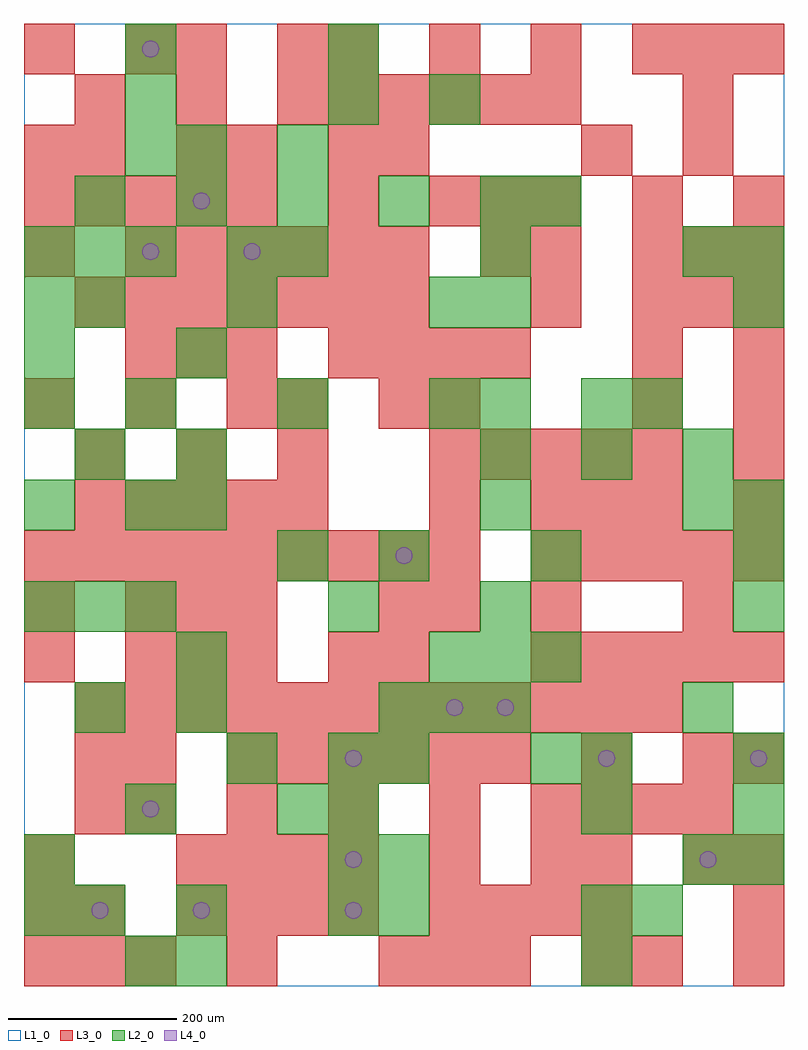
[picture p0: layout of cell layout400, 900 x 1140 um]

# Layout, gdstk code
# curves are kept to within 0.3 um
import gdstk
lib = gdstk.Library(unit=1e-6, precision=1e-09)
def R(c, l, rs):  # rectangles x0, y0, x1, y1
    for r in rs: c.add(gdstk.rectangle(r[:2], r[2:], *l))
def A(c, l, x, y, w, h, nx, ny, dx, dy):  # array of equal rectangles
    R(c, l, [(x+i*dx, y+j*dy, x+i*dx+w, y+j*dy+h) for i in range(nx) for j in range(ny)])
def P(c, l, *ps):  # polygons
    for p in ps: c.add(gdstk.Polygon(p, *l))
L1_0 = (1, 0)
L2_0 = (2, 0)
L3_0 = (3, 0)
L4_0 = (4, 0)

layout400 = lib.new_cell('layout400')
R(layout400, L1_0, [(0,0,900,1140)])
A(layout400, L2_0, 360, 60, 60, 60, 1, 4, 0, 60)
A(layout400, L2_0, 840, 120, 60, 60, 1, 3, 0, 60)
A(layout400, L2_0, 420, 300, 60, 60, 3, 1, 60, 0)
A(layout400, L2_0, 480, 360, 60, 60, 3, 1, 60, 0)
A(layout400, L2_0, 0, 420, 60, 60, 3, 2, 60, 420)
A(layout400, L2_0, 540, 420, 60, 60, 1, 4, 0, 120)
A(layout400, L2_0, 840, 420, 60, 60, 1, 3, 0, 60)
A(layout400, L2_0, 540, 600, 60, 60, 3, 1, 120, 0)
A(layout400, L2_0, 0, 660, 60, 60, 1, 3, 0, 60)
A(layout400, L2_0, 120, 660, 60, 60, 3, 1, 180, 0)
A(layout400, L2_0, 300, 840, 60, 60, 3, 1, 240, 0)
A(layout400, L2_0, 60, 900, 60, 60, 5, 1, 120, 0)
A(layout400, L2_0, 120, 960, 60, 60, 1, 3, 0, 60)
R(layout400, L2_0, [(120,0,180,60), (180,0,240,60), (660,0,720,60), (0,60,60,120), (60,60,120,120), (180,60,240,120), (420,60,480,120), (660,60,720,120), (720,60,780,120), (0,120,60,180), (420,120,480,180), (780,120,840,180), (120,180,180,240), (300,180,360,240), (660,180,720,240), (240,240,300,300), (420,240,480,300), (600,240,660,300), (660,240,720,300), (60,300,120,360), (180,300,240,360), (780,300,840,360), (180,360,240,420), (360,420,420,480), (300,480,360,540), (420,480,480,540), (600,480,660,540), (0,540,60,600), (120,540,180,600), (180,540,240,600), (780,540,840,600), (60,600,120,660), (180,600,240,660), (660,660,720,720), (720,660,780,720), (180,720,240,780), (60,780,120,840), (240,780,300,840), (480,780,540,840), (840,780,900,840), (240,840,300,900), (840,840,900,900), (600,900,660,960), (180,960,240,1020), (300,960,360,1020), (360,1020,420,1080), (480,1020,540,1080), (360,1080,420,1140)])
A(layout400, L3_0, 0, 0, 60, 60, 3, 1, 60, 0)
A(layout400, L3_0, 420, 0, 60, 60, 3, 1, 60, 0)
A(layout400, L3_0, 660, 0, 60, 60, 1, 3, 0, 120)
A(layout400, L3_0, 840, 0, 60, 60, 1, 3, 0, 60)
A(layout400, L3_0, 180, 60, 60, 60, 4, 2, 60, 60)
A(layout400, L3_0, 480, 60, 60, 60, 4, 1, 60, 0)
A(layout400, L3_0, 120, 180, 60, 60, 5, 1, 120, 0)
A(layout400, L3_0, 660, 180, 60, 60, 3, 1, 60, 0)
A(layout400, L3_0, 240, 240, 60, 60, 6, 1, 60, 0)
A(layout400, L3_0, 60, 300, 60, 60, 12, 1, 60, 0)
A(layout400, L3_0, 120, 360, 60, 60, 3, 2, 60, 60)
A(layout400, L3_0, 600, 360, 60, 60, 5, 2, 60, 120)
A(layout400, L3_0, 480, 420, 60, 60, 1, 3, 0, 120)
A(layout400, L3_0, 0, 480, 60, 60, 9, 1, 60, 0)
A(layout400, L3_0, 60, 540, 60, 60, 5, 1, 60, 0)
A(layout400, L3_0, 600, 540, 60, 60, 3, 1, 60, 0)
A(layout400, L3_0, 840, 540, 60, 60, 1, 4, 0, 60)
A(layout400, L3_0, 60, 600, 60, 60, 3, 2, 120, 420)
A(layout400, L3_0, 480, 600, 60, 60, 5, 1, 60, 0)
A(layout400, L3_0, 0, 660, 60, 60, 3, 1, 120, 0)
A(layout400, L3_0, 120, 720, 60, 60, 3, 1, 60, 0)
A(layout400, L3_0, 360, 720, 60, 60, 4, 1, 60, 0)
A(layout400, L3_0, 60, 780, 60, 60, 7, 1, 60, 0)
A(layout400, L3_0, 720, 780, 60, 60, 3, 2, 60, 60)
A(layout400, L3_0, 0, 840, 60, 60, 1, 3, 0, 120)
A(layout400, L3_0, 120, 840, 60, 60, 6, 1, 60, 0)
A(layout400, L3_0, 0, 900, 60, 60, 5, 1, 60, 0)
A(layout400, L3_0, 480, 900, 60, 60, 3, 1, 60, 0)
A(layout400, L3_0, 780, 960, 60, 60, 1, 3, 0, 60)
A(layout400, L3_0, 360, 1020, 60, 60, 5, 1, 60, 0)
A(layout400, L3_0, 360, 1080, 60, 60, 4, 1, 120, 0)
R(layout400, L3_0, [(240,0,300,60), (720,0,780,60), (0,60,60,120), (60,60,120,120), (0,120,60,180), (480,120,540,180), (600,120,660,180), (780,120,840,180), (60,180,120,240), (60,240,120,300), (120,240,180,300), (780,240,840,300), (840,240,900,300), (0,360,60,420), (360,360,420,420), (420,360,480,420), (0,420,60,480), (420,420,480,480), (600,420,660,480), (780,420,840,480), (300,660,360,720), (420,660,480,720), (720,660,780,720), (720,720,780,780), (600,780,660,840), (540,840,600,900), (600,840,660,900), (360,900,420,960), (720,900,780,960), (840,900,900,960), (60,960,120,1020), (180,960,240,1020), (240,960,300,1020), (360,960,420,1020), (420,960,480,1020), (660,960,720,1020), (120,1080,180,1140), (180,1080,240,1140), (300,1080,360,1140), (840,1080,900,1140)])
P(layout400, L4_0, [(100,90),(99.239,93.827),(97.071,97.071),(93.827,99.239),(90,100),(86.173,99.239),(82.929,97.071),(80.761,93.827),(80,90),(80.761,86.173),(82.929,82.929),(86.173,80.761),(90,80),(93.827,80.761),(97.071,82.929),(99.239,86.173)],
  [(160,210),(159.239,213.827),(157.071,217.071),(153.827,219.239),(150,220),(146.173,219.239),(142.929,217.071),(140.761,213.827),(140,210),(140.761,206.173),(142.929,202.929),(146.173,200.761),(150,200),(153.827,200.761),(157.071,202.929),(159.239,206.173)],
  [(160,870),(159.239,873.827),(157.071,877.071),(153.827,879.239),(150,880),(146.173,879.239),(142.929,877.071),(140.761,873.827),(140,870),(140.761,866.173),(142.929,862.929),(146.173,860.761),(150,860),(153.827,860.761),(157.071,862.929),(159.239,866.173)],
  [(160,1110),(159.239,1113.827),(157.071,1117.071),(153.827,1119.239),(150,1120),(146.173,1119.239),(142.929,1117.071),(140.761,1113.827),(140,1110),(140.761,1106.173),(142.929,1102.929),(146.173,1100.761),(150,1100),(153.827,1100.761),(157.071,1102.929),(159.239,1106.173)],
  [(220,90),(219.239,93.827),(217.071,97.071),(213.827,99.239),(210,100),(206.173,99.239),(202.929,97.071),(200.761,93.827),(200,90),(200.761,86.173),(202.929,82.929),(206.173,80.761),(210,80),(213.827,80.761),(217.071,82.929),(219.239,86.173)],
  [(220,930),(219.239,933.827),(217.071,937.071),(213.827,939.239),(210,940),(206.173,939.239),(202.929,937.071),(200.761,933.827),(200,930),(200.761,926.173),(202.929,922.929),(206.173,920.761),(210,920),(213.827,920.761),(217.071,922.929),(219.239,926.173)],
  [(280,870),(279.239,873.827),(277.071,877.071),(273.827,879.239),(270,880),(266.173,879.239),(262.929,877.071),(260.761,873.827),(260,870),(260.761,866.173),(262.929,862.929),(266.173,860.761),(270,860),(273.827,860.761),(277.071,862.929),(279.239,866.173)],
  [(400,90),(399.239,93.827),(397.071,97.071),(393.827,99.239),(390,100),(386.173,99.239),(382.929,97.071),(380.761,93.827),(380,90),(380.761,86.173),(382.929,82.929),(386.173,80.761),(390,80),(393.827,80.761),(397.071,82.929),(399.239,86.173)],
  [(400,150),(399.239,153.827),(397.071,157.071),(393.827,159.239),(390,160),(386.173,159.239),(382.929,157.071),(380.761,153.827),(380,150),(380.761,146.173),(382.929,142.929),(386.173,140.761),(390,140),(393.827,140.761),(397.071,142.929),(399.239,146.173)],
  [(400,270),(399.239,273.827),(397.071,277.071),(393.827,279.239),(390,280),(386.173,279.239),(382.929,277.071),(380.761,273.827),(380,270),(380.761,266.173),(382.929,262.929),(386.173,260.761),(390,260),(393.827,260.761),(397.071,262.929),(399.239,266.173)],
  [(460,510),(459.239,513.827),(457.071,517.071),(453.827,519.239),(450,520),(446.173,519.239),(442.929,517.071),(440.761,513.827),(440,510),(440.761,506.173),(442.929,502.929),(446.173,500.761),(450,500),(453.827,500.761),(457.071,502.929),(459.239,506.173)],
  [(520,330),(519.239,333.827),(517.071,337.071),(513.827,339.239),(510,340),(506.173,339.239),(502.929,337.071),(500.761,333.827),(500,330),(500.761,326.173),(502.929,322.929),(506.173,320.761),(510,320),(513.827,320.761),(517.071,322.929),(519.239,326.173)],
  [(580,330),(579.239,333.827),(577.071,337.071),(573.827,339.239),(570,340),(566.173,339.239),(562.929,337.071),(560.761,333.827),(560,330),(560.761,326.173),(562.929,322.929),(566.173,320.761),(570,320),(573.827,320.761),(577.071,322.929),(579.239,326.173)],
  [(700,270),(699.239,273.827),(697.071,277.071),(693.827,279.239),(690,280),(686.173,279.239),(682.929,277.071),(680.761,273.827),(680,270),(680.761,266.173),(682.929,262.929),(686.173,260.761),(690,260),(693.827,260.761),(697.071,262.929),(699.239,266.173)],
  [(820,150),(819.239,153.827),(817.071,157.071),(813.827,159.239),(810,160),(806.173,159.239),(802.929,157.071),(800.761,153.827),(800,150),(800.761,146.173),(802.929,142.929),(806.173,140.761),(810,140),(813.827,140.761),(817.071,142.929),(819.239,146.173)],
  [(880,270),(879.239,273.827),(877.071,277.071),(873.827,279.239),(870,280),(866.173,279.239),(862.929,277.071),(860.761,273.827),(860,270),(860.761,266.173),(862.929,262.929),(866.173,260.761),(870,260),(873.827,260.761),(877.071,262.929),(879.239,266.173)])

lib.write_gds('layout400.gds')
